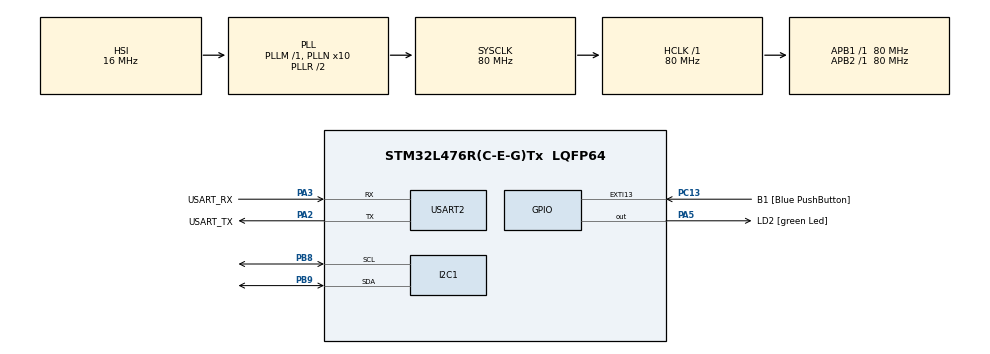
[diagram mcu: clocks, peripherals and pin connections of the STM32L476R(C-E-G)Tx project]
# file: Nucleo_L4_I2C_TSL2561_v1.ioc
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I2C1.I2C_Fall_Time=60
I2C1.I2C_Rise_Time=60
I2C1.Timing=0x10C09CE7
Mcu.Family=STM32L4
Mcu.Name=STM32L476R(C-E-G)Tx
Mcu.Package=LQFP64
NVIC.PriorityGroup=NVIC_PRIORITYGROUP_4
PA13\ (JTMS-SWDIO).GPIO_Label=TMS
PA13\ (JTMS-SWDIO).Mode=Serial_Wire
PA13\ (JTMS-SWDIO).Signal=SYS_JTMS-SWDIO
PA14\ (JTCK-SWCLK).GPIO_Label=TCK
PA14\ (JTCK-SWCLK).Mode=Serial_Wire
PA14\ (JTCK-SWCLK).Signal=SYS_JTCK-SWCLK
PA2.GPIO_Label=USART_TX
PA2.GPIO_Mode=GPIO_MODE_AF_PP
PA2.GPIO_PuPd=GPIO_NOPULL
PA2.GPIO_Speed=GPIO_SPEED_FREQ_VERY_HIGH
PA2.Mode=Asynchronous
PA2.Signal=USART2_TX
PA3.GPIO_Label=USART_RX
PA3.GPIO_Mode=GPIO_MODE_AF_PP
PA3.GPIO_PuPd=GPIO_NOPULL
PA3.GPIO_Speed=GPIO_SPEED_FREQ_VERY_HIGH
PA3.Mode=Asynchronous
PA3.Signal=USART2_RX
PA5.GPIO_Label=LD2 [green Led]
PA5.GPIO_ModeDefaultOutputPP=GPIO_MODE_OUTPUT_PP
PA5.GPIO_PuPd=GPIO_NOPULL
PA5.GPIO_Speed=GPIO_SPEED_FREQ_LOW
PA5.Signal=GPIO_Output
PB3\ (JTDO-TRACESWO).GPIO_Label=SWO
PB3\ (JTDO-TRACESWO).Signal=SYS_JTDO-SWO
PB8.Mode=I2C
PB8.Signal=I2C1_SCL
PB9.Mode=I2C
PB9.Signal=I2C1_SDA
PC13.GPIO_Label=B1 [Blue PushButton]
PC13.GPIO_ModeDefaultEXTI=GPIO_MODE_IT_FALLING
PC13.GPIO_PuPd=GPIO_NOPULL
PC13.Signal=GPXTI13
PC14-OSC32_IN\ (PC14).Mode=LSE-External-Oscillator
PC14-OSC32_IN\ (PC14).Signal=RCC_OSC32_IN
PC15-OSC32_OUT\ (PC15).Mode=LSE-External-Oscillator
PC15-OSC32_OUT\ (PC15).Signal=RCC_OSC32_OUT
PH0-OSC_IN\ (PH0).Signal=RCC_OSC_IN
PH1-OSC_OUT\ (PH1).Signal=RCC_OSC_OUT
ProjectManager.HeapSize=0x200
ProjectManager.StackSize=0x400
ProjectManager.TargetToolchain=SW4STM32
RCC.ADCFreq_Value=64000000
RCC.AHBFreq_Value=80000000
RCC.APB1Freq_Value=80000000
RCC.APB1TimFreq_Value=80000000
RCC.APB2Freq_Value=80000000
RCC.APB2TimFreq_Value=80000000
RCC.CortexFreq_Value=80000000
RCC.HCLKFreq_Value=80000000
RCC.HSE_VALUE=8000000
RCC.HSI_VALUE=16000000
RCC.MSI_VALUE=4000000
RCC.PLLN=10
RCC.PLLSourceVirtual=RCC_PLLSOURCE_HSI
RCC.PREFETCH_ENABLE=1
RCC.SYSCLKFreq_VALUE=80000000
RCC.SYSCLKSource=RCC_SYSCLKSOURCE_PLLCLK
RCC.USBFreq_Value=64000000
RCC.VCOOutputFreq_Value=160000000
USART2.VirtualMode-Asynchronous=VM_ASYNC
board=NUCLEO-L476RG

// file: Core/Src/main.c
/* USER CODE BEGIN Header */
/**
  ******************************************************************************
  * @file           : main.c
  * @brief          : Main program body
  ******************************************************************************
  ** This notice applies to any and all portions of this file
  * that are not between comment pairs USER CODE BEGIN and
  * USER CODE END. Other portions of this file, whether
  * inserted by the user or by software development tools
  * are owned by their respective copyright owners.
  *
  * COPYRIGHT(c) 2019 STMicroelectronics
  *
  * Redistribution and use in source and binary forms, with or without modification,
  * are permitted provided that the following conditions are met:
  *   1. Redistributions of source code must retain the above copyright notice,
  *      this list of conditions and the following disclaimer.
  *   2. Redistributions in binary form must reproduce the above copyright notice,
  *      this list of conditions and the following disclaimer in the documentation
  *      and/or other materials provided with the distribution.
  *   3. Neither the name of STMicroelectronics nor the names of its contributors
  *      may be used to endorse or promote products derived from this software
  *      without specific prior written permission.
  *
  * THIS SOFTWARE IS PROVIDED BY THE COPYRIGHT HOLDERS AND CONTRIBUTORS "AS IS"
  * AND ANY EXPRESS OR IMPLIED WARRANTIES, INCLUDING, BUT NOT LIMITED TO, THE
  * IMPLIED WARRANTIES OF MERCHANTABILITY AND FITNESS FOR A PARTICULAR PURPOSE ARE
  * DISCLAIMED. IN NO EVENT SHALL THE COPYRIGHT HOLDER OR CONTRIBUTORS BE LIABLE
  * FOR ANY DIRECT, INDIRECT, INCIDENTAL, SPECIAL, EXEMPLARY, OR CONSEQUENTIAL
  * DAMAGES (INCLUDING, BUT NOT LIMITED TO, PROCUREMENT OF SUBSTITUTE GOODS OR
  * SERVICES; LOSS OF USE, DATA, OR PROFITS; OR BUSINESS INTERRUPTION) HOWEVER
  * CAUSED AND ON ANY THEORY OF LIABILITY, WHETHER IN CONTRACT, STRICT LIABILITY,
  * OR TORT (INCLUDING NEGLIGENCE OR OTHERWISE) ARISING IN ANY WAY OUT OF THE USE
  * OF THIS SOFTWARE, EVEN IF ADVISED OF THE POSSIBILITY OF SUCH DAMAGE.
  *
  ******************************************************************************
  */
/* USER CODE END Header */

#include "main.h"
#include "i2c.h"
#include "usart.h"
#include "gpio.h"

/* USER CODE BEGIN Includes */
#include <stdio.h>
#include <stdlib.h>
#include <string.h>
#include "tsl2561.h"
/* USER CODE END Includes */

void SystemClock_Config(void);

int main(void)
{

  /* MCU Configuration--------------------------------------------------------*/

  /* Reset of all peripherals, Initializes the Flash interface and the Systick. */
  HAL_Init();

  /* Configure the system clock */
  SystemClock_Config();

  /* Initialize all configured peripherals */
  MX_GPIO_Init();
  MX_USART2_UART_Init();
  MX_I2C1_Init();
  /* USER CODE BEGIN 2 */

  char buffer[256];
  sprintf(buffer, "Start\n");
  HAL_UART_Transmit(&huart2, (uint8_t*)buffer, strlen(buffer), HAL_MAX_DELAY);
  HAL_Delay(1000);

  uint16_t broadband, ir;
  uint32_t lux;

  // Initialise luminosity sensor
  TSL2561_Init(&hi2c1);

  /* USER CODE END 2 */

  /* Infinite loop */
  while (1)
  {

    /* USER CODE BEGIN 3 */

	    // Optional ... default setting is 400ms with no gain
	    // Set timing to 101ms with no gain
	    TSL2561_SetTiming(&hi2c1, TSL2561_INTEGRATIONTIME_101MS, TSL2561_GAIN_0X);

	    // Check luminosity level and calculate lux
	    TSL2561_GetLuminosity(&hi2c1, &broadband, &ir);
	    lux = TSL2561_CalculateLux(broadband, ir);

	  int sz=sprintf(buffer, "broadband %u IR %u LUX %lu\n", broadband, ir, lux);
	  HAL_UART_Transmit(&huart2, (uint8_t*)buffer, sz, HAL_MAX_DELAY);

  }
  /* USER CODE END 3 */
}

void SystemClock_Config(void)
{
  RCC_OscInitTypeDef RCC_OscInitStruct = {0};
  RCC_ClkInitTypeDef RCC_ClkInitStruct = {0};
  RCC_PeriphCLKInitTypeDef PeriphClkInit = {0};

  /** Initializes the CPU, AHB and APB busses clocks
  */
  RCC_OscInitStruct.OscillatorType = RCC_OSCILLATORTYPE_HSI;
  RCC_OscInitStruct.HSIState = RCC_HSI_ON;
  RCC_OscInitStruct.HSICalibrationValue = RCC_HSICALIBRATION_DEFAULT;
  RCC_OscInitStruct.PLL.PLLState = RCC_PLL_ON;
  RCC_OscInitStruct.PLL.PLLSource = RCC_PLLSOURCE_HSI;
  RCC_OscInitStruct.PLL.PLLM = 1;
  RCC_OscInitStruct.PLL.PLLN = 10;
  RCC_OscInitStruct.PLL.PLLP = RCC_PLLP_DIV7;
  RCC_OscInitStruct.PLL.PLLQ = RCC_PLLQ_DIV2;
  RCC_OscInitStruct.PLL.PLLR = RCC_PLLR_DIV2;
  if (HAL_RCC_OscConfig(&RCC_OscInitStruct) != HAL_OK)
  {
    Error_Handler();
  }
  /** Initializes the CPU, AHB and APB busses clocks
  */
  RCC_ClkInitStruct.ClockType = RCC_CLOCKTYPE_HCLK|RCC_CLOCKTYPE_SYSCLK
                              |RCC_CLOCKTYPE_PCLK1|RCC_CLOCKTYPE_PCLK2;
  RCC_ClkInitStruct.SYSCLKSource = RCC_SYSCLKSOURCE_PLLCLK;
  RCC_ClkInitStruct.AHBCLKDivider = RCC_SYSCLK_DIV1;
  RCC_ClkInitStruct.APB1CLKDivider = RCC_HCLK_DIV1;
  RCC_ClkInitStruct.APB2CLKDivider = RCC_HCLK_DIV1;

  if (HAL_RCC_ClockConfig(&RCC_ClkInitStruct, FLASH_LATENCY_4) != HAL_OK)
  {
    Error_Handler();
  }
  PeriphClkInit.PeriphClockSelection = RCC_PERIPHCLK_USART2|RCC_PERIPHCLK_I2C1;
  PeriphClkInit.Usart2ClockSelection = RCC_USART2CLKSOURCE_PCLK1;
  PeriphClkInit.I2c1ClockSelection = RCC_I2C1CLKSOURCE_PCLK1;
  if (HAL_RCCEx_PeriphCLKConfig(&PeriphClkInit) != HAL_OK)
  {
    Error_Handler();
  }
  /** Configure the main internal regulator output voltage
  */
  if (HAL_PWREx_ControlVoltageScaling(PWR_REGULATOR_VOLTAGE_SCALE1) != HAL_OK)
  {
    Error_Handler();
  }
}

void Error_Handler(void)
{
}

/************************ (C) COPYRIGHT STMicroelectronics *****END OF FILE****/
